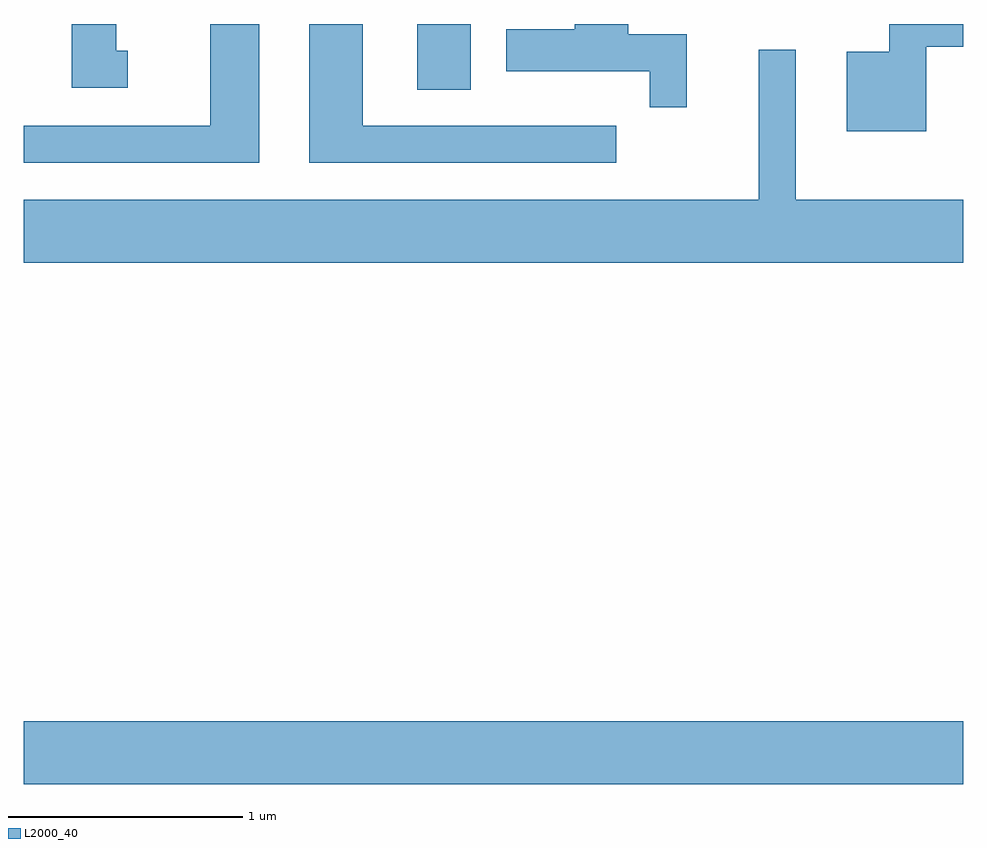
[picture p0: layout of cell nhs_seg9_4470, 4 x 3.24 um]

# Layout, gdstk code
import gdstk
lib = gdstk.Library(unit=1e-6, precision=1e-09)
def R(c, l, rs):  # rectangles x0, y0, x1, y1
    for r in rs: c.add(gdstk.rectangle(r[:2], r[2:], *l))
def P(c, l, *ps):  # polygons
    for p in ps: c.add(gdstk.Polygon(p, *l))
L2000_40 = (2000, 40)

nhs_seg9_4470 = lib.new_cell('nhs_seg9_4470')
R(nhs_seg9_4470, L2000_40, [(317.611,1945.196,321.611,1945.464), (319.286,1948.151,319.514,1948.432)])
P(nhs_seg9_4470, L2000_40, [(320.434,1948.389),(320.184,1948.389),(320.184,1948.432),(319.956,1948.432),(319.956,1948.409),(319.666,1948.409),(319.666,1948.231),(320.276,1948.231),(320.276,1948.078),(320.434,1948.078)],
  [(320.133,1947.999),(319.054,1947.999),(319.054,1948.432),(318.826,1948.432),(318.826,1947.841),(320.133,1947.841)],
  [(318.614,1948.432),(318.406,1948.432),(318.406,1947.999),(317.611,1947.999),(317.611,1947.841),(318.614,1947.841)],
  [(318.053,1948.319),(318.004,1948.319),(318.004,1948.432),(317.816,1948.432),(317.816,1948.161),(318.053,1948.161)],
  [(321.454,1948.336),(321.611,1948.336),(321.611,1948.432),(321.296,1948.432),(321.296,1948.314),(321.116,1948.314),(321.116,1947.976),(321.454,1947.976)],
  [(321.611,1947.684),(320.899,1947.684),(320.899,1948.323),(320.741,1948.323),(320.741,1947.684),(317.611,1947.684),(317.611,1947.416),(321.611,1947.416)])

lib.write_gds('nhs_seg9_4470.gds')
